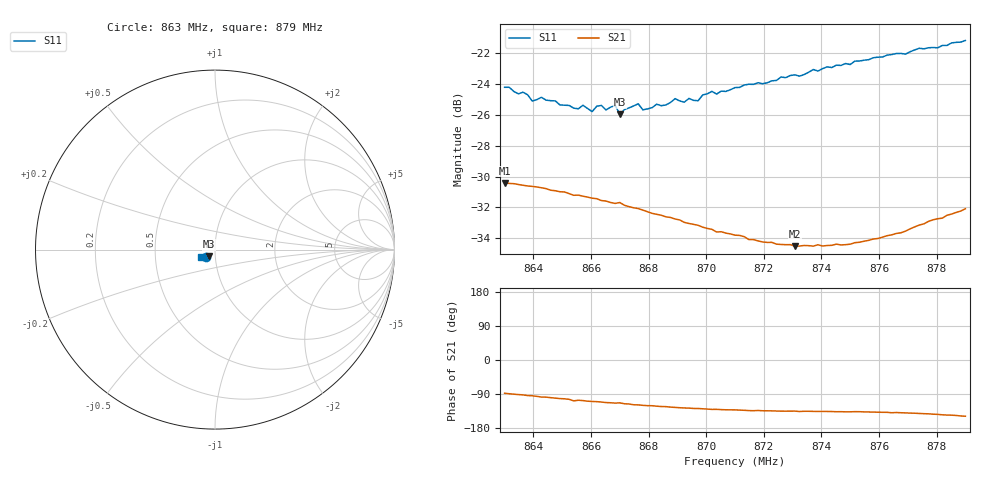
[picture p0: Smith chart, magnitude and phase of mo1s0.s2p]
# HZ S RI R 50
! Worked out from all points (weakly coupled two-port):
!   101 points, 863 MHz to 879 MHz, reference 50 ohm
!   highest |S21| = -30.42 dB at 863 MHz (marker M1); lowest = -34.5 dB at 873.08 MHz (marker M2)
!   lowest |S11| = -25.9 dB at 867 MHz (marker M3), VSWR 1.11, Z = 46.5 - j3.39 ohm
!   |S11| at or under -10 dB: start of sweep to end of sweep
!   S12 and S22 are empty: the file has one direction only
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8.63e8  -0.0482 -0.0385  0.00123 -0.0301  0 0  0 0
8.6364e8  -0.0455 -0.0382  -0.0011 -0.0296  0 0  0 0
8.6396e8  -0.0417 -0.0368  -0.00225 -0.0293  0 0  0 0
8.6428e8  -0.0424 -0.0384  -0.00394 -0.0288  0 0  0 0
8.654e8  -0.0375 -0.0371  -0.0084 -0.0262  0 0  0 0
8.6572e8  -0.0366 -0.0396  -0.00801 -0.0261  0 0  0 0
8.6604e8  -0.0354 -0.0373  -0.00895 -0.0253  0 0  0 0
8.662e8  -0.0371 -0.0386  -0.00912 -0.0252  0 0  0 0
8.6652e8  -0.0346 -0.0389  -0.01 -0.0243  0 0  0 0
8.6684e8  -0.036 -0.04  -0.0104 -0.0237  0 0  0 0
8.67e8  -0.035 -0.0363  -0.0102 -0.0239  0 0  0 0
8.6764e8  -0.0349 -0.0419  -0.0119 -0.0219  0 0  0 0
8.678e8  -0.0325 -0.0407  -0.0122 -0.0214  0 0  0 0
8.6844e8  -0.0334 -0.0421  -0.0128 -0.0199  0 0  0 0
8.6892e8  -0.0348 -0.0447  -0.0132 -0.0188  0 0  0 0
8.6972e8  -0.0327 -0.0452  -0.0135 -0.0173  0 0  0 0
8.702e8  -0.0352 -0.0484  -0.0138 -0.0162  0 0  0 0
8.71e8  -0.036 -0.0499  -0.0135 -0.0152  0 0  0 0
8.7308e8  -0.0428 -0.0525  -0.0132 -0.0133  0 0  0 0
8.7372e8  -0.0457 -0.0537  -0.0134 -0.0131  0 0  0 0
8.7644e8  -0.0605 -0.0505  -0.0155 -0.0134  0 0  0 0
8.79e8  -0.0771 -0.0416  -0.0212 -0.013  0 0  0 0
